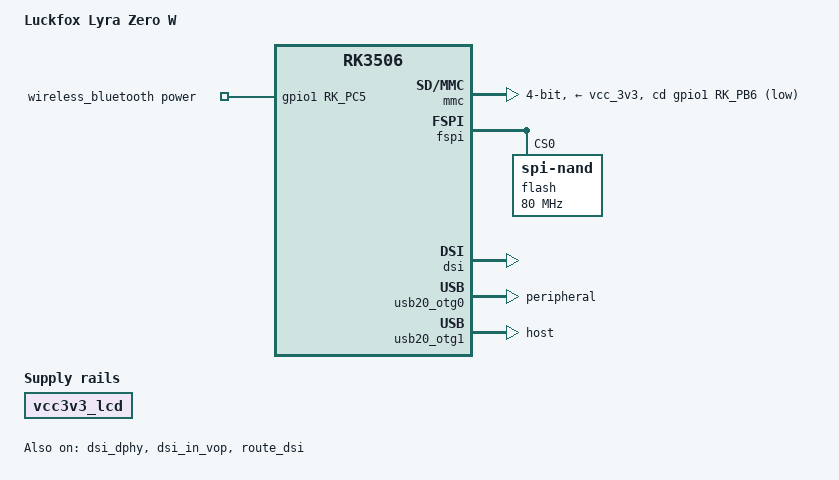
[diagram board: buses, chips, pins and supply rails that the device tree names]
// SPDX-License-Identifier: (GPL-2.0+ OR MIT)
/*
 * Copyright (c) 2024 Rockchip Electronics Co., Ltd.
 */

// 3寸mipi屏幕
// 该文件基于 rk3506-luckfox-lyra-ultra.dtsi 派生，用于 Luckfox Lyra Zero W 板卡。
// 对比参考版本(官方设备树），主要差异为：
// 1. 背光节点显式启用（参考版无背光节点）。
// 2. LCD 电源 vcc3v3_lcd 设置为常开，但未配置复位引脚 pinctrl（参考版增加了 lcd_pwren_h 引脚控制）。
// 3. 面板电源引用相同，但定义位置不同。

/dts-v1/;

#include "rk3506-luckfox-lyra-ultra.dtsi"

/ {
	model = "Luckfox Lyra Zero W";
	compatible = "rockchip,rk3506g-demo-display-control", "rockchip,rk3506";

	chosen {
		bootargs = "earlycon=uart8250,mmio32,0xff0a0000 console=tty1 console=ttyFIQ0 root=ubi0:rootfs ubi.mtd=2 rootfstype=ubifs rootwait snd_aloop.index=7 snd_aloop.use_raw_jiffies=1";
	};

	/*
	 * 无线蓝牙控制节点
	 */
	wireless_bluetooth: wireless-bluetooth {
		compatible = "bluetooth-platdata";
		BT,power_gpio = <&gpio1 RK_PC5 GPIO_ACTIVE_HIGH>;
		status = "okay";
	};


	/*
	 * 背光节点：显式启用 dtsi 中定义的 PWM 背光。
	 */
	backlight: backlight {
		status = "okay";
	};

	/*
	 * LCD 3.3V 电源：固定电压调节器，常开。
	 * 差异点：本版本未配置 pinctrl，即未将 GPIO1_C4 用作电源使能引脚，
	 * 而是硬件直接供电。参考版本中增加了 lcd_pwren_h 引脚控制，
	 * 并将 GPIO1_C4 复用为普通 GPIO 上拉输出，用于控制 LCD 复位或电源使能。
	 */
	vcc3v3_lcd: vcc3v3-lcd {
		compatible = "regulator-fixed";
		regulator-name = "vcc3v3_lcd";
		regulator-always-on;
		status = "okay";
	};
};

/*
 * 将 DSI 面板的电源供应指向上面定义的 vcc3v3_lcd。
 */
&dsi_panel {
	power-supply = <&vcc3v3_lcd>;
};

/**********media**********/
&mmc {
	max-frequency = <52000000>;
	bus-width = <4>;
	no-sdio;
	no-mmc;
	cap-mmc-highspeed;
	cap-sd-highspeed;
	cd-gpios = <&gpio1 RK_PB6 GPIO_ACTIVE_LOW>;
	disable-wp;
	pinctrl-names = "default";
	pinctrl-0 = <&sdmmc_clk_pins &sdmmc_cmd_pins &sdmmc_bus4_pins &sdmmc_det &sdmmc_pwren>;
	vqmmc-supply = <&vcc_3v3>;
	vmmc-supply = <&vcc_3v3>;
	status = "okay";
};

&fspi {
	status = "okay";
	flash@0 {
		compatible = "spi-nand";
		reg = <0>;
		spi-max-frequency = <80000000>;
		spi-rx-bus-width = <4>;
		spi-tx-bus-width = <1>;
	};
};

/**********display**********/
&cma {
	size = <0x2000000>;
};

&dsi {
	status = "okay";
};

&dsi_dphy {
	status = "okay";
};

&dsi_in_vop {
	status = "okay";
};

&route_dsi {
	status = "okay";
};

/**********ethernet**********/
&gmac1 {
	status = "disabled";
};

/**********usb**********/
&usb20_otg0 {
	dr_mode = "peripheral";
	status = "okay";
};

&usb20_otg1 {
	dr_mode = "host";
	status = "okay";
};

/*
 * 屏幕复位
 */
&pinctrl {
    lcd {
        lcd_pwren_h: lcd-pwren-h {
            rockchip,pins = <1 RK_PC4 RK_FUNC_GPIO &pcfg_pull_none>; /* GPIO1_C4 */
        };
    };
};

